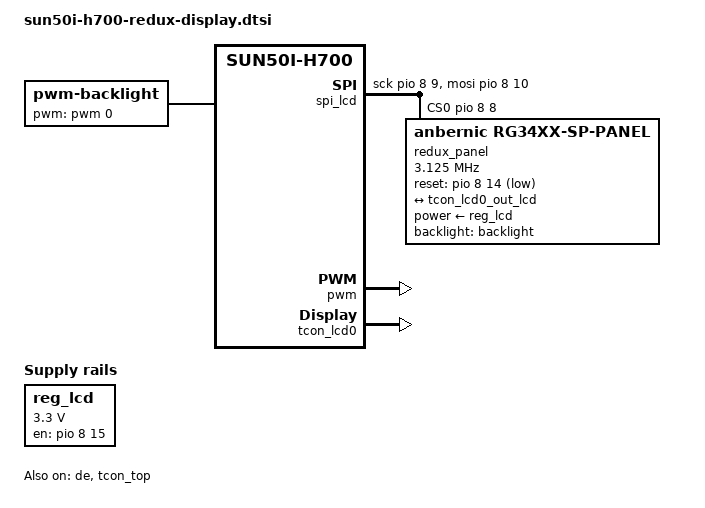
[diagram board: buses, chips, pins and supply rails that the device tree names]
// SPDX-License-Identifier: (GPL-2.0-only OR BSD-2-Clause)
/*
 * RG34XX-SP display (task R19). DRAFT, NOT BOOTED.
 *
 * Needs the display layer (patches/upstream/display-layer.txt: H616 display engine and LCD TCON,
 * H616 PWM) and patches/linux-display/ for the panel (NV3052C driver entry and binding).
 *
 * Pipeline: mixer0 -> TCON TOP -> LCD TCON0 -> 24-bit RGB panel (NV3052C controller).
 * Wiring, from the stock tree (lcd0 lcd_gpio_0..4, pwm0 pins) and identical to the upstream
 * RG35XX family: panel set-up over bit-banged 3-wire SPI on PI8 (CS), PI9 (SCK), PI10 (MOSI);
 * panel reset PI14 (active low); panel power PI15; backlight PWM0 on PD28.
 *
 * The panel's init sequence and timing are in the kernel (panel-newvision-nv3052c.c, decision
 * Q8). Only the original panel (PE6 strap low) is known; the newer panel's controller is not
 * identified. Never include this file unless the panel has been identified (u-boot reads the
 * PE6 strap and picks the DTB); boards with an unknown panel boot the plain -redux tree.
 */

/ {
	backlight: backlight {
		compatible = "pwm-backlight";
		/*
		 * 25 kHz, normal polarity: the values ROCKNIX runs on this board on mainline
		 * (tag 20261101, cefc143). Stock uses 50 kHz (lcd_pwm_freq). Check: device task.
		 */
		pwms = <&pwm 0 40000 0>;
		brightness-levels = <0 255>;
		num-interpolated-steps = <255>;
		default-brightness-level = <50>;	/* stock lcd_backlight */
	};

	reg_lcd: regulator-lcd {
		compatible = "regulator-fixed";
		regulator-name = "vdd-lcd";
		regulator-min-microvolt = <3300000>;
		regulator-max-microvolt = <3300000>;
		gpio = <&pio 8 15 GPIO_ACTIVE_HIGH>;	/* PI15 */
		enable-active-high;
	};

	spi_lcd: spi {
		compatible = "spi-gpio";
		#address-cells = <1>;
		#size-cells = <0>;
		sck-gpios = <&pio 8 9 GPIO_ACTIVE_HIGH>;	/* PI9 */
		mosi-gpios = <&pio 8 10 GPIO_ACTIVE_HIGH>;	/* PI10 */
		cs-gpios = <&pio 8 8 GPIO_ACTIVE_HIGH>;		/* PI8 */
		num-chipselects = <1>;

		redux_panel: panel@0 {
			compatible = "anbernic,rg34xx-sp-panel";
			reg = <0>;
			spi-max-frequency = <3125000>;
			spi-3wire;
			reset-gpios = <&pio 8 14 GPIO_ACTIVE_LOW>;	/* PI14 */
			power-supply = <&reg_lcd>;
			backlight = <&backlight>;
			pinctrl-0 = <&lcd0_rgb888_pins>;
			pinctrl-names = "default";

			port {
				panel_in_rgb: endpoint {
					remote-endpoint = <&tcon_lcd0_out_lcd>;
				};
			};
		};
	};
};

&de {
	status = "okay";
};

&pwm {
	pinctrl-0 = <&pwm0_pin>;
	pinctrl-names = "default";
	status = "okay";
};

&tcon_lcd0 {
	status = "okay";
};

&tcon_lcd0_out_lcd {
	remote-endpoint = <&panel_in_rgb>;
};

&tcon_top {
	status = "okay";
};
